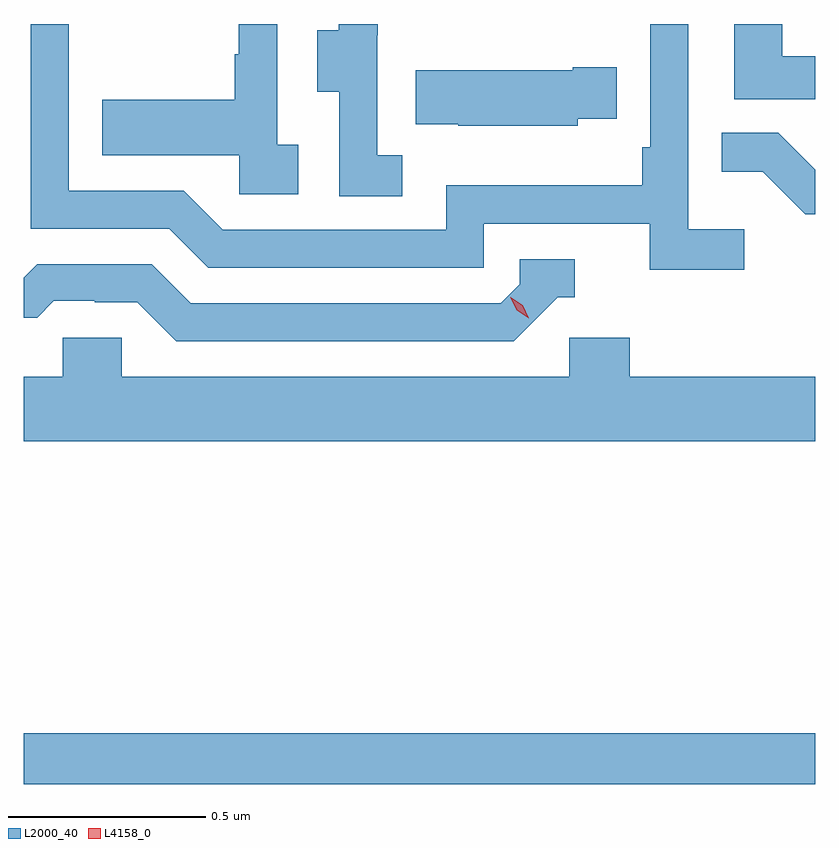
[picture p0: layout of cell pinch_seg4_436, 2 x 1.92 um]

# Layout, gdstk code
import gdstk
lib = gdstk.Library(unit=1e-6, precision=1e-09)
def R(c, l, rs):  # rectangles x0, y0, x1, y1
    for r in rs: c.add(gdstk.rectangle(r[:2], r[2:], *l))
def P(c, l, *ps):  # polygons
    for p in ps: c.add(gdstk.Polygon(p, *l))
L2000_40 = (2000, 40)
L4158_0 = (4158, 0)

pinch_seg4_436 = lib.new_cell('pinch_seg4_436')
R(pinch_seg4_436, L2000_40, [(915.925,779.97,917.925,780.098)])
P(pinch_seg4_436, L2000_40, [(916.882,781.559),(916.818,781.559),(916.818,781.863),(916.82,781.863),(916.82,781.891),(916.721,781.891),(916.721,781.875),(916.667,781.875),(916.667,781.72),(916.722,781.72),(916.722,781.456),(916.882,781.456)],
  [(917.746,781.372),(917.604,781.372),(917.604,781.891),(917.508,781.891),(917.508,781.579),(917.488,781.579),(917.488,781.483),(916.992,781.483),(916.992,781.371),(916.428,781.371),(916.329,781.47),(916.038,781.47),(916.038,781.891),(915.942,781.891),(915.942,781.374),(916.292,781.374),(916.391,781.275),(917.088,781.275),(917.088,781.386),(917.507,781.386),(917.507,781.27),(917.746,781.27)],
  [(917.925,781.81),(917.842,781.81),(917.842,781.891),(917.72,781.891),(917.72,781.701),(917.925,781.701)],
  [(916.618,781.586),(916.566,781.586),(916.566,781.891),(916.468,781.891),(916.468,781.814),(916.458,781.814),(916.458,781.699),(916.123,781.699),(916.123,781.559),(916.47,781.559),(916.47,781.461),(916.618,781.461)],
  [(917.325,781.652),(917.423,781.652),(917.423,781.782),(917.312,781.782),(917.312,781.774),(916.915,781.774),(916.915,781.637),(917.023,781.637),(917.023,781.634),(917.325,781.634)],
  [(917.925,781.523),(917.832,781.616),(917.689,781.616),(917.689,781.517),(917.793,781.517),(917.9,781.41),(917.925,781.41)],
  [(917.274,781.2),(917.317,781.2),(917.317,781.296),(917.178,781.296),(917.178,781.233),(917.13,781.185),(916.347,781.185),(916.248,781.284),(915.959,781.284),(915.925,781.25),(915.925,781.149),(915.959,781.149),(916.001,781.191),(916.104,781.191),(916.104,781.188),(916.211,781.188),(916.31,781.089),(917.163,781.089)],
  [(917.925,781),(917.456,781),(917.456,781.098),(917.304,781.098),(917.304,781),(916.173,781),(916.173,781.098),(916.023,781.098),(916.023,781),(915.925,781),(915.925,780.836),(917.925,780.836)])
P(pinch_seg4_436, L4158_0, [(917.201,781.147),(917.171,781.167),(917.155,781.2),(917.155,781.2),(917.156,781.2),(917.186,781.18),(917.201,781.147),(917.201,781.147)])

lib.write_gds('pinch_seg4_436.gds')
